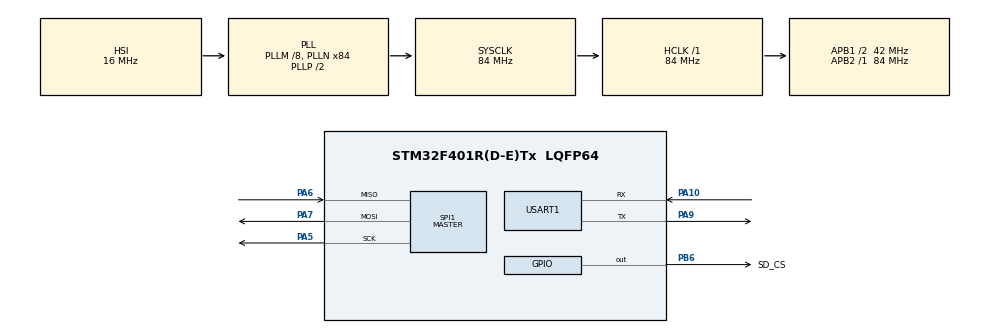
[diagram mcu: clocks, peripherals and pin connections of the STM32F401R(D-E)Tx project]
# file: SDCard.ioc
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FATFS._USE_LFN=1
Mcu.Family=STM32F4
Mcu.Name=STM32F401R(D-E)Tx
Mcu.Package=LQFP64
NVIC.PriorityGroup=NVIC_PRIORITYGROUP_4
PA10.Mode=Asynchronous
PA10.Signal=USART1_RX
PA13.Mode=Serial_Wire
PA13.Signal=SYS_JTMS-SWDIO
PA14.Mode=Serial_Wire
PA14.Signal=SYS_JTCK-SWCLK
PA5.GPIO_PuPd=GPIO_PULLUP
PA5.Mode=Full_Duplex_Master
PA5.Signal=SPI1_SCK
PA6.GPIO_PuPd=GPIO_PULLUP
PA6.Mode=Full_Duplex_Master
PA6.Signal=SPI1_MISO
PA7.GPIO_PuPd=GPIO_PULLUP
PA7.Mode=Full_Duplex_Master
PA7.Signal=SPI1_MOSI
PA9.Mode=Asynchronous
PA9.Signal=USART1_TX
PB6.GPIO_Label=SD_CS
PB6.GPIO_PuPd=GPIO_PULLUP
PB6.GPIO_Speed=GPIO_SPEED_FREQ_VERY_HIGH
PB6.PinState=GPIO_PIN_SET
PB6.Signal=GPIO_Output
PH0\ -\ OSC_IN.Mode=HSE-External-Oscillator
PH0\ -\ OSC_IN.Signal=RCC_OSC_IN
PH1\ -\ OSC_OUT.Mode=HSE-External-Oscillator
PH1\ -\ OSC_OUT.Signal=RCC_OSC_OUT
ProjectManager.HeapSize=0x200
ProjectManager.StackSize=0x400
ProjectManager.TargetToolchain=STM32CubeIDE
RCC.48MHZClocksFreq_Value=42000000
RCC.AHBFreq_Value=84000000
RCC.APB1CLKDivider=RCC_HCLK_DIV2
RCC.APB1Freq_Value=42000000
RCC.APB1TimFreq_Value=84000000
RCC.APB2Freq_Value=84000000
RCC.APB2TimFreq_Value=84000000
RCC.CortexFreq_Value=84000000
RCC.HCLKFreq_Value=84000000
RCC.HSE_VALUE=25000000
RCC.HSI_VALUE=16000000
RCC.LSE_VALUE=32768
RCC.PLLM=8
RCC.PLLN=84
RCC.SYSCLKFreq_VALUE=84000000
RCC.SYSCLKSource=RCC_SYSCLKSOURCE_PLLCLK
RCC.VCOOutputFreq_Value=168000000
SPI1.Direction=SPI_DIRECTION_2LINES
SPI1.Mode=SPI_MODE_MASTER
SPI1.VirtualType=VM_MASTER
USART1.VirtualMode=VM_ASYNC
VP_FATFS_VS_Generic.Mode=User_defined
board=custom

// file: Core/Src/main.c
/* USER CODE BEGIN Header */
/**
  ******************************************************************************
  * @file           : main.c
  * @brief          : Main program body
  ******************************************************************************
  * @attention
  *
  * Copyright (c) 2025 STMicroelectronics.
  * All rights reserved.
  *
  * This software is licensed under terms that can be found in the LICENSE file
  * in the root directory of this software component.
  * If no LICENSE file comes with this software, it is provided AS-IS.
  *
  ******************************************************************************
  */
/* USER CODE END Header */
#include "main.h"
#include "fatfs.h"

/* USER CODE BEGIN Includes */
#include "stdio.h"
#include "stdlib.h"
#include "string.h"
#include "stdarg.h"

/* USER CODE END Includes */

SPI_HandleTypeDef hspi1;

UART_HandleTypeDef huart1;

void SystemClock_Config(void);
static void MX_GPIO_Init(void);
static void MX_SPI1_Init(void);
static void MX_USART1_UART_Init(void);

/* USER CODE BEGIN 0 */
void myprintf(const char *fmt, ...);

void myprintf(const char *fmt, ...) {
  static char buffer[256];
  va_list args;
  va_start(args, fmt);
  vsnprintf(buffer, sizeof(buffer), fmt, args);
  va_end(args);

  int len = strlen(buffer);
  HAL_UART_Transmit(&huart1, (uint8_t*)buffer, len, -1);

}
/* USER CODE END 0 */

int main(void)
{

  /* MCU Configuration--------------------------------------------------------*/

  /* Reset of all peripherals, Initializes the Flash interface and the Systick. */
  HAL_Init();

  /* Configure the system clock */
  SystemClock_Config();

  /* Initialize all configured peripherals */
  MX_GPIO_Init();
  MX_SPI1_Init();
  MX_USART1_UART_Init();
  MX_FATFS_Init();
  /* USER CODE BEGIN 2 */
  myprintf("SD Card tutorial!\r\n");

  FATFS fs;
  FIL fil;
  FRESULT fres;
  DWORD free_clusters, free_sectors, total_sectors;
  FATFS *pfs;

 //
 // Mounting the SD Card
 //

  fres = f_mount(&fs, "", 1);
  if(fres != FR_OK){
	  myprintf("f_mount error (%i)\r\n", fres);
	  while(1);
  }

  myprintf("SD Card mounted!\r\n");

  //
  // Getting SD Card stats
  //

  fres = f_getfree("", &free_clusters, &pfs);
  if(fres != FR_OK){
	  myprintf("f_getfree error (%i)\r\n", fres);
	  while(1);
  }

  total_sectors = (pfs->n_fatent -2) * pfs->csize;
  free_sectors = free_clusters * pfs->csize;
  myprintf("SD card stats:\r\n%10lu KiB total drive space.\r\n%10lu KiB available.\r\n", total_sectors / 2, free_sectors / 2);

  //
  // Writing on SD Card
  //

  fres = f_open(&fil, "franco.txt", FA_WRITE | FA_OPEN_ALWAYS | FA_CREATE_ALWAYS);
  if(fres == FR_OK){
	  myprintf("I was able to create franco.txt\r\n");
  }
  else{
	  myprintf("Error! I was not able to create franco.txt\r\n");
  }

  BYTE buffer[30];
  strcpy((char *) buffer, "Ciao, sono Pippo!");

  UINT byteswrote;
  fres = f_write(&fil, buffer, 30, &byteswrote);
  if (fres == FR_OK){
	  myprintf("Wrote %i bytes to franco.txt!\r\n");
  }
  else{
	  myprintf("f_write error (%i)\r\n");
  }

  f_close(&fil);

  //
  // Reading from SD Card
  //

  HAL_Delay(500);

  fres = f_open(&fil, "franco.txt", FA_READ);
  if (fres != FR_OK) {
	   myprintf("f_open error (%i)\r\n", fres);
	   while(1);
    }

  myprintf("I was able to open 'franco.txt' for reading!\r\n");

  BYTE READ_BUFF[30];
  TCHAR *res = f_gets((TCHAR *)READ_BUFF, 30, &fil);

  if(res != 0) {
   	myprintf("Read string from 'franco.txt' contents: %s\r\n", READ_BUFF);
     } else {
   	myprintf("f_gets error (%i)\r\n", fres);
     }

  f_close(&fil);

  f_mount(NULL, "", 0);

  /* USER CODE END 2 */

  /* Infinite loop */
  while (1)
  {

  }
}

void SystemClock_Config(void)
{
  RCC_OscInitTypeDef RCC_OscInitStruct = {0};
  RCC_ClkInitTypeDef RCC_ClkInitStruct = {0};

  /** Configure the main internal regulator output voltage
  */
  __HAL_RCC_PWR_CLK_ENABLE();
  __HAL_PWR_VOLTAGESCALING_CONFIG(PWR_REGULATOR_VOLTAGE_SCALE2);

  /** Initializes the RCC Oscillators according to the specified parameters
  * in the RCC_OscInitTypeDef structure.
  */
  RCC_OscInitStruct.OscillatorType = RCC_OSCILLATORTYPE_HSI;
  RCC_OscInitStruct.HSIState = RCC_HSI_ON;
  RCC_OscInitStruct.HSICalibrationValue = RCC_HSICALIBRATION_DEFAULT;
  RCC_OscInitStruct.PLL.PLLState = RCC_PLL_ON;
  RCC_OscInitStruct.PLL.PLLSource = RCC_PLLSOURCE_HSI;
  RCC_OscInitStruct.PLL.PLLM = 8;
  RCC_OscInitStruct.PLL.PLLN = 84;
  RCC_OscInitStruct.PLL.PLLP = RCC_PLLP_DIV2;
  RCC_OscInitStruct.PLL.PLLQ = 4;
  if (HAL_RCC_OscConfig(&RCC_OscInitStruct) != HAL_OK)
  {
    Error_Handler();
  }

  /** Initializes the CPU, AHB and APB buses clocks
  */
  RCC_ClkInitStruct.ClockType = RCC_CLOCKTYPE_HCLK|RCC_CLOCKTYPE_SYSCLK
                              |RCC_CLOCKTYPE_PCLK1|RCC_CLOCKTYPE_PCLK2;
  RCC_ClkInitStruct.SYSCLKSource = RCC_SYSCLKSOURCE_PLLCLK;
  RCC_ClkInitStruct.AHBCLKDivider = RCC_SYSCLK_DIV1;
  RCC_ClkInitStruct.APB1CLKDivider = RCC_HCLK_DIV2;
  RCC_ClkInitStruct.APB2CLKDivider = RCC_HCLK_DIV1;

  if (HAL_RCC_ClockConfig(&RCC_ClkInitStruct, FLASH_LATENCY_2) != HAL_OK)
  {
    Error_Handler();
  }
}

static void MX_SPI1_Init(void)
{

  /* SPI1 parameter configuration*/
  hspi1.Instance = SPI1;
  hspi1.Init.Mode = SPI_MODE_MASTER;
  hspi1.Init.Direction = SPI_DIRECTION_2LINES;
  hspi1.Init.DataSize = SPI_DATASIZE_8BIT;
  hspi1.Init.CLKPolarity = SPI_POLARITY_LOW;
  hspi1.Init.CLKPhase = SPI_PHASE_1EDGE;
  hspi1.Init.NSS = SPI_NSS_SOFT;
  hspi1.Init.BaudRatePrescaler = SPI_BAUDRATEPRESCALER_2;
  hspi1.Init.FirstBit = SPI_FIRSTBIT_MSB;
  hspi1.Init.TIMode = SPI_TIMODE_DISABLE;
  hspi1.Init.CRCCalculation = SPI_CRCCALCULATION_DISABLE;
  hspi1.Init.CRCPolynomial = 10;
  if (HAL_SPI_Init(&hspi1) != HAL_OK)
  {
    Error_Handler();
  }

}

static void MX_USART1_UART_Init(void)
{

  huart1.Instance = USART1;
  huart1.Init.BaudRate = 115200;
  huart1.Init.WordLength = UART_WORDLENGTH_8B;
  huart1.Init.StopBits = UART_STOPBITS_1;
  huart1.Init.Parity = UART_PARITY_NONE;
  huart1.Init.Mode = UART_MODE_TX_RX;
  huart1.Init.HwFlowCtl = UART_HWCONTROL_NONE;
  huart1.Init.OverSampling = UART_OVERSAMPLING_16;
  if (HAL_UART_Init(&huart1) != HAL_OK)
  {
    Error_Handler();
  }

}

static void MX_GPIO_Init(void)
{
  GPIO_InitTypeDef GPIO_InitStruct = {0};

  /* GPIO Ports Clock Enable */
  __HAL_RCC_GPIOH_CLK_ENABLE();
  __HAL_RCC_GPIOA_CLK_ENABLE();
  __HAL_RCC_GPIOB_CLK_ENABLE();

  /*Configure GPIO pin Output Level */
  HAL_GPIO_WritePin(SD_CS_GPIO_Port, SD_CS_Pin, GPIO_PIN_SET);

  /*Configure GPIO pin : SD_CS_Pin */
  GPIO_InitStruct.Pin = SD_CS_Pin;
  GPIO_InitStruct.Mode = GPIO_MODE_OUTPUT_PP;
  GPIO_InitStruct.Pull = GPIO_PULLUP;
  GPIO_InitStruct.Speed = GPIO_SPEED_FREQ_VERY_HIGH;
  HAL_GPIO_Init(SD_CS_GPIO_Port, &GPIO_InitStruct);

}

void Error_Handler(void)
{
  __disable_irq();
  while (1)
  {
  }
}
